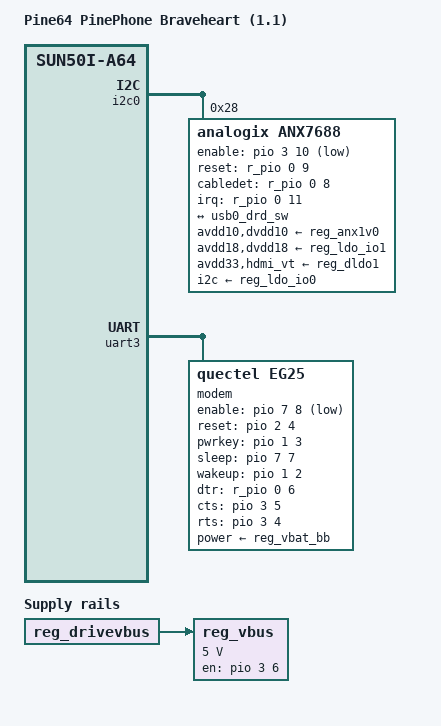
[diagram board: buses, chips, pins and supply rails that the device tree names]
// SPDX-License-Identifier: (GPL-2.0+ OR MIT)
// Copyright (C) 2020 Ondrej Jirman <megous@megous.com>

/dts-v1/;

#include "sun50i-a64-pinephone.dtsi"

/ {
	model = "Pine64 PinePhone Braveheart (1.1)";
	compatible = "pine64,pinephone-1.1", "pine64,pinephone", "allwinner,sun50i-a64";

	reg_vbus: usb0-vbus {
		compatible = "regulator-fixed";
		regulator-name = "usb0-vbus";
		regulator-min-microvolt = <5000000>;
		regulator-max-microvolt = <5000000>;
		gpio = <&pio 3 6 GPIO_ACTIVE_HIGH>; /* PD6 */
		enable-active-high;
		vin-supply = <&reg_drivevbus>;
	};
};

&axp803 {
	x-powers,drive-vbus-en;
};

&backlight {
	power-supply = <&reg_ldo_io0>;
	lth-brightness = <10>;
};

&codec_analog {
	allwinner,internal-bias-resistor;
};

&i2c0 {
	anx7688: hdmi-bridge@28 {
		compatible = "analogix,anx7688";
		reg = <0x28>;

		interrupt-parent = <&r_pio>;
		interrupts = <0 11 IRQ_TYPE_EDGE_FALLING>; /* PL11 */

		enable-gpios = <&pio 3 10 GPIO_ACTIVE_LOW>; /* PD10 */
		reset-gpios = <&r_pio 0 9 GPIO_ACTIVE_HIGH>; /* PL9 */

		cabledet-gpios = <&r_pio 0 8 GPIO_ACTIVE_HIGH>; /* PL8 */

		avdd10-supply = <&reg_anx1v0>;
		dvdd10-supply = <&reg_anx1v0>;
		/* This is for the HW hack variant, but will also work for non-modified version. */
		avdd18-supply = <&reg_ldo_io1>;
		dvdd18-supply = <&reg_ldo_io1>;
		avdd33-supply = <&reg_dldo1>;
		i2c-supply = <&reg_ldo_io0>;
		vconn-supply = <&reg_vconn5v0>;
		hdmi_vt-supply = <&reg_dldo1>;

		source-caps = <
			PDO_FIXED(5000, 500, PDO_FIXED_DATA_SWAP | PDO_FIXED_USB_COMM | PDO_FIXED_DUAL_ROLE)
		>;

		sink-caps = <
			PDO_FIXED(5000, 3000, PDO_FIXED_DATA_SWAP | PDO_FIXED_USB_COMM | PDO_FIXED_DUAL_ROLE)
		>;

		/*
		 * ANX7688 can't enable/disable USB-5V <-> DCIN switch by
		 * itself, and PMIC's N_VBUSEN is not connected anywhere either,
		 * so we need to configure everything in software:
		 *
		 * - get the VBUS status from ANX7688 via I2C
		 * - configure PMIC to let it know vbus drive status (via
		 *   reg_drivevbus)
		 * - enable VBUS switch and USB-5V regulator (via reg_vbus
		 *   and reg_usb_5v)
		 */
		vbus-supply = <&reg_vbus>;
		vbus_in-supply = <&usb_power_supply>;

		port {
			typec0_dr_sw: endpoint {
				remote-endpoint = <&usb0_drd_sw>;
			};
		};
	};
};

/*
 * The N_VBUSEN pin is disconnected, but we need to inform the PMIC about
 * the VBUS status anyway. To avoid the pin from floating and to inform
 * the PMIC, about VBUS status, we couple reg_drivevbus with reg_vbus.
 */
&reg_drivevbus {
	vin-supply = <&reg_usb_5v>;
	status = "okay";
};

&sgm3140 {
	enable-gpios = <&pio 3 24 GPIO_ACTIVE_HIGH>; /* PD24 */
	flash-gpios = <&pio 2 3 GPIO_ACTIVE_HIGH>; /* PC3 */
};

&uart3 {
	modem {
		compatible = "quectel,eg25";
		char-device-name = "modem-power";

		power-supply = <&reg_vbat_bb>; /* PL7 */

		enable-gpios = <&pio 7 8 GPIO_ACTIVE_LOW>; /* PH8 */
		reset-gpios = <&pio 2 4 GPIO_ACTIVE_HIGH>; /* PC4 */
		pwrkey-gpios = <&pio 1 3 GPIO_ACTIVE_HIGH>; /* PB3 */
		//status-pwrkey-multiplexed; /* status acts as pwrkey */

		sleep-gpios = <&pio 7 7 GPIO_ACTIVE_HIGH>; /* PH7 */
		wakeup-gpios = <&pio 1 2 GPIO_ACTIVE_HIGH>; /* PB2-RI */

		dtr-gpios = <&r_pio 0 6 GPIO_ACTIVE_HIGH>; /* PL6-DTR */
		cts-gpios = <&pio 3 5 GPIO_ACTIVE_HIGH>; /* PD5-CTS */
		rts-gpios = <&pio 3 4 GPIO_ACTIVE_HIGH>; /* PD4-RTS */

		quectel,qdai = "1,1,0,1,0,0,1,1";
	};
};

&usbphy {
	usb-role-switch;

	port {
		usb0_drd_sw: endpoint {
			remote-endpoint = <&typec0_dr_sw>;
		};
	};
};

&hdmi {
	extcon = <&anx7688 0>;
};
